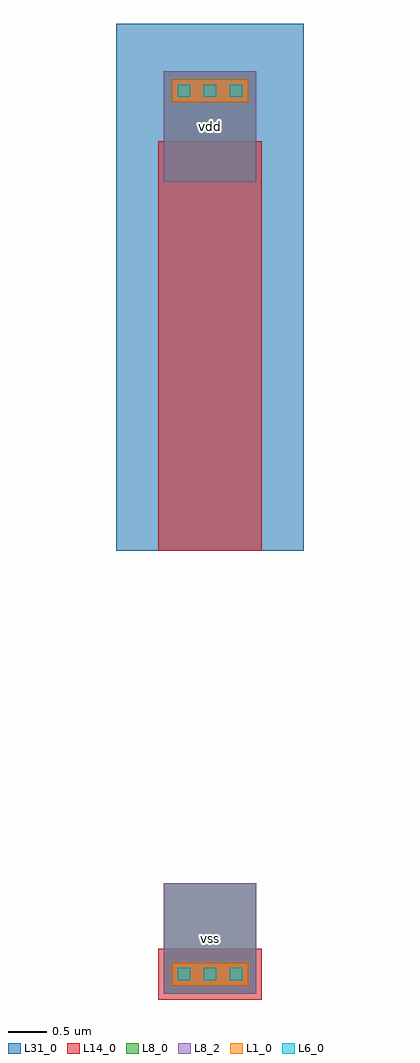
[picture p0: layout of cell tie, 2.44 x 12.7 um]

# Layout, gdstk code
import gdstk
lib = gdstk.Library(unit=1e-6, precision=1e-09)
def R(c, l, rs):  # rectangles x0, y0, x1, y1
    for r in rs: c.add(gdstk.rectangle(r[:2], r[2:], *l))
def A(c, l, x, y, w, h, nx, ny, dx, dy):  # array of equal rectangles
    R(c, l, [(x+i*dx, y+j*dy, x+i*dx+w, y+j*dy+h) for i in range(nx) for j in range(ny)])
L1_0 = (1, 0)
L6_0 = (6, 0)
L8_0 = (8, 0)
L8_2 = (8, 2)
L14_0 = (14, 0)
L31_0 = (31, 0)

tie = lib.new_cell('tie')
R(tie, L1_0, [(0.105,0.105,1.095,0.405), (0.11,0.105,1.09,0.405), (0.105,11.595,1.095,11.895), (0.11,11.595,1.09,11.895)])
A(tie, L6_0, 0.18, 0.175, 0.16, 0.16, 3, 2, 0.34, 11.49)
R(tie, L8_0, [(0,0,1.2,1.44), (0.18,0.095,1.02,0.415), (0,10.56,1.2,12), (0.18,11.585,1.02,11.905)])
R(tie, L8_2, [(0,0,1.2,1.44), (0,10.56,1.2,12)])
R(tie, L14_0, [(-0.075,-0.075,1.275,0.585), (-0.07,-0.075,1.27,0.585), (-0.075,5.76,1.275,11.09)])
R(tie, L31_0, [(-0.62,5.76,1.82,12.62), (-0.515,10.975,1.715,12.515), (-0.51,10.975,1.71,12.515)])
tie.add(gdstk.Label('vdd', (0.6,11.28), layer=8, texttype=25))
tie.add(gdstk.Label('vss', (0.6,0.72), layer=8, texttype=25))

lib.write_gds('tie.gds')
